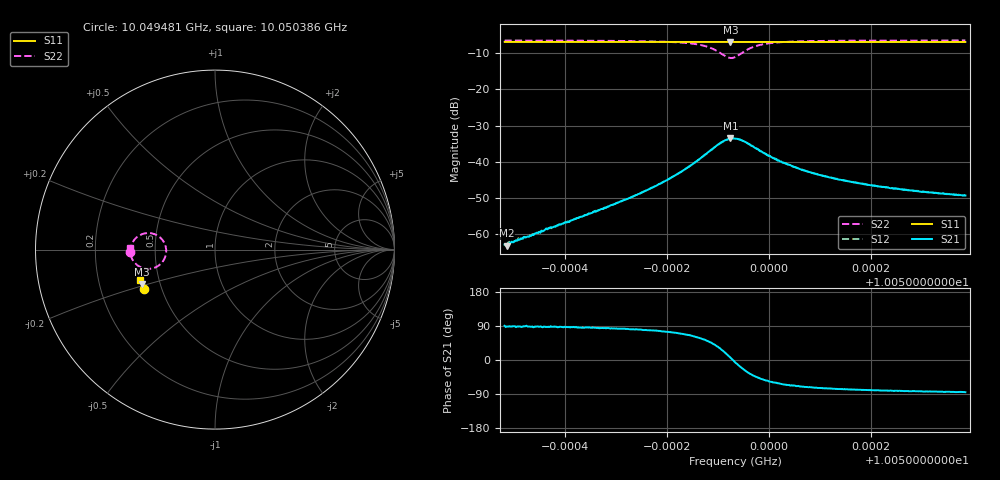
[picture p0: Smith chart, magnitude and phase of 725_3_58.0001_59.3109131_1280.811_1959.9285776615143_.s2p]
#  HZ  S  RI  R  50.00
! Rohde & Schwarz Vector Network Analyzer
! Rohde-Schwarz,ZNB20-2Port,1311601062101988,3.16
! Created: UTC 3/21/2024, 1:22:51 AM
! freq[Hz]  re:S11  im:S11  re:S21  im:S21  re:S12  im:S12  re:S22  im:S22
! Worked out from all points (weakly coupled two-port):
!   401 points, 10.049481 GHz to 10.050386 GHz, reference 50 ohm
!   highest |S21| = -33.51 dB at 10.049924 GHz (marker M1); lowest = -63.1 dB at 10.049485 GHz (marker M2)
!   lowest |S11| = -6.9 dB at 10.049924 GHz (marker M3), VSWR 2.64, Z = 19.7 - j9.6 ohm
!   |S11| at or under -10 dB: nowhere
!   |S22| runs from -11.3 to -6.5 dB; largest |S21 - S12| = 0.0016
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1.00494805e10  -0.3967 -0.2206  -4.07e-06 0.00072  8.02e-06 0.000683  -0.4738 -0.0124
1.00494851e10  -0.3968 -0.2204  1.73e-05 0.000697  -2.74e-05 0.000727  -0.4738 -0.0118
1.00494919e10  -0.397 -0.22  2.35e-05 0.000753  -3.2e-05 0.000779  -0.4737 -0.011
1.00496322e10  -0.4011 -0.2116  0.000141 0.00174  1.17e-05 0.00177  -0.4713 0.00752
1.00497273e10  -0.4039 -0.2058  0.000485 0.00314  0.000259 0.00319  -0.4657 0.0269
1.00497839e10  -0.4054 -0.2022  0.00112 0.00478  0.000895 0.00486  -0.4566 0.0449
1.00498291e10  -0.4066 -0.1993  0.00266 0.00695  0.00225 0.00706  -0.4386 0.0662
1.00498676e10  -0.4074 -0.1967  0.00638 0.00955  0.00578 0.00992  -0.3991 0.0884
1.00498835e10  -0.4075 -0.1955  0.00957 0.0103  0.00893 0.0109  -0.3681 0.0921
1.00498993e10  -0.4075 -0.1945  0.0141 0.00989  0.0132 0.0105  -0.3256 0.081
1.00499106e10  -0.4071 -0.194  0.0177 0.00758  0.0171 0.0086  -0.294 0.0552
1.00499242e10  -0.4071 -0.1937  0.021 0.00227  0.0206 0.00372  -0.2723 0.00221
1.00499333e10  -0.4073 -0.1936  0.0208 -0.0021  0.0208 -0.000573  -0.2766 -0.0378
1.00499446e10  -0.4076 -0.1935  0.0189 -0.0065  0.0194 -0.00525  -0.3011 -0.0782
1.00499559e10  -0.4083 -0.1931  0.0158 -0.00938  0.0164 -0.00821  -0.3348 -0.1004
1.00499717e10  -0.409 -0.1923  0.0116 -0.0106  0.0124 -0.00981  -0.3773 -0.1074
1.00499876e10  -0.4099 -0.1915  0.00852 -0.0105  0.00924 -0.01  -0.4077 -0.1007
1.00500283e10  -0.4113 -0.189  0.00418 -0.00875  0.00478 -0.00848  -0.4463 -0.0745
1.00500849e10  -0.4131 -0.1853  0.00215 -0.00666  0.00256 -0.00657  -0.4639 -0.048
1.00501415e10  -0.4147 -0.1818  0.0013 -0.00548  0.00159 -0.00539  -0.47 -0.0312
1.00502366e10  -0.417 -0.1761  0.000682 -0.0043  0.000973 -0.00428  -0.4738 -0.0129
1.0050386e10  -0.4206 -0.1667  0.000304 -0.00341  0.000469 -0.00341  -0.4752 0.00616
